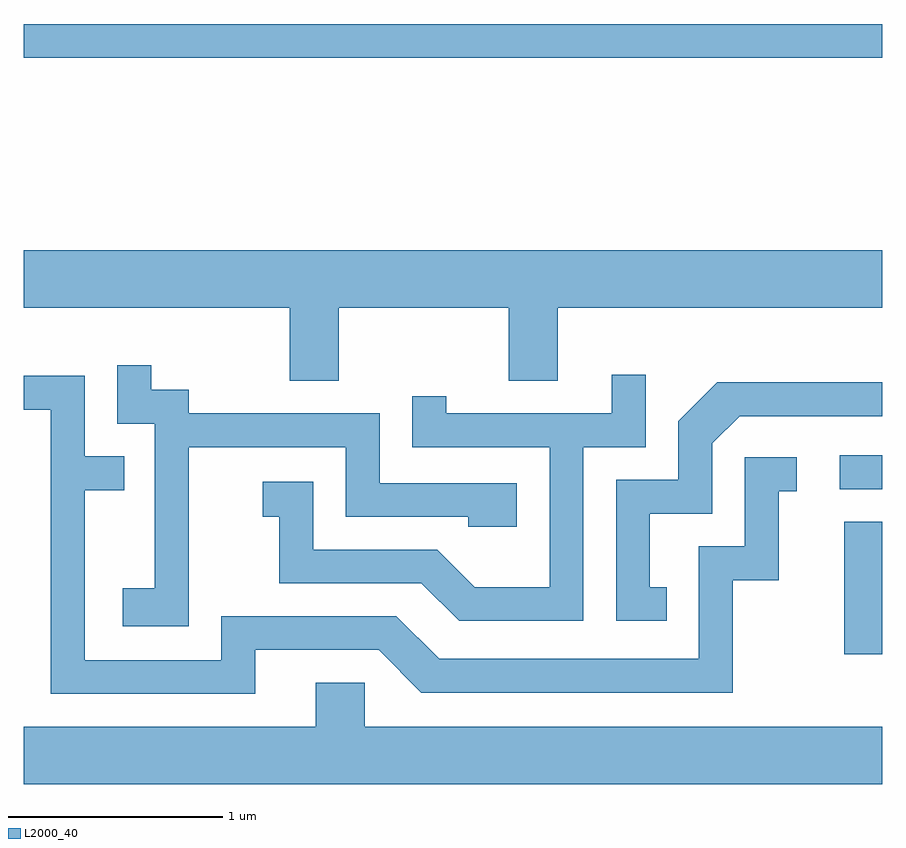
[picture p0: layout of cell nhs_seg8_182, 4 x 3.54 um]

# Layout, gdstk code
import gdstk
lib = gdstk.Library(unit=1e-6, precision=1e-09)
def R(c, l, rs):  # rectangles x0, y0, x1, y1
    for r in rs: c.add(gdstk.rectangle(r[:2], r[2:], *l))
def P(c, l, *ps):  # polygons
    for p in ps: c.add(gdstk.Polygon(p, *l))
L2000_40 = (2000, 40)

nhs_seg8_182 = lib.new_cell('nhs_seg8_182')
R(nhs_seg8_182, L2000_40, [(193.436,1899.181,193.611,1899.799), (193.413,1899.951,193.611,1900.109), (189.611,1901.961,193.611,1902.119)])
P(nhs_seg8_182, L2000_40, [(191.079,1900.796),(191.871,1900.796),(191.871,1900.456),(192.099,1900.456),(192.099,1900.796),(193.611,1900.796),(193.611,1901.064),(189.611,1901.064),(189.611,1900.796),(190.851,1900.796),(190.851,1900.456),(191.079,1900.456)],
  [(190.379,1900.146),(191.111,1900.146),(191.111,1899.821),(191.681,1899.821),(191.681,1899.776),(191.909,1899.776),(191.909,1899.979),(191.269,1899.979),(191.269,1900.304),(190.379,1900.304),(190.379,1900.414),(190.204,1900.414),(190.204,1900.528),(190.046,1900.528),(190.046,1900.256),(190.221,1900.256),(190.221,1899.489),(190.071,1899.489),(190.071,1899.311),(190.379,1899.311)],
  [(192.219,1900.146),(192.509,1900.146),(192.509,1900.483),(192.351,1900.483),(192.351,1900.304),(191.579,1900.304),(191.579,1900.383),(191.421,1900.383),(191.421,1900.146),(192.061,1900.146),(192.061,1899.494),(191.712,1899.494),(191.537,1899.669),(190.959,1899.669),(190.959,1899.984),(190.723,1899.984),(190.723,1899.821),(190.801,1899.821),(190.801,1899.511),(191.464,1899.511),(191.639,1899.336),(192.219,1899.336)],
  [(190.689,1899.201),(191.264,1899.201),(191.464,1899.001),(192.914,1899.001),(192.914,1899.526),(193.129,1899.526),(193.129,1899.941),(193.213,1899.941),(193.213,1900.099),(192.971,1900.099),(192.971,1899.684),(192.756,1899.684),(192.756,1899.159),(191.547,1899.159),(191.347,1899.359),(190.531,1899.359),(190.531,1899.154),(189.894,1899.154),(189.894,1899.946),(190.078,1899.946),(190.078,1900.104),(189.894,1900.104),(189.894,1900.479),(189.611,1900.479),(189.611,1900.321),(189.736,1900.321),(189.736,1898.996),(190.689,1898.996)],
  [(192.608,1899.494),(192.529,1899.494),(192.529,1899.836),(192.819,1899.836),(192.819,1900.164),(192.947,1900.291),(193.611,1900.291),(193.611,1900.449),(192.844,1900.449),(192.661,1900.267),(192.661,1899.994),(192.371,1899.994),(192.371,1899.336),(192.608,1899.336)],
  [(193.611,1898.844),(191.199,1898.844),(191.199,1899.049),(190.971,1899.049),(190.971,1898.844),(189.611,1898.844),(189.611,1898.576),(193.611,1898.576)])

lib.write_gds('nhs_seg8_182.gds')
